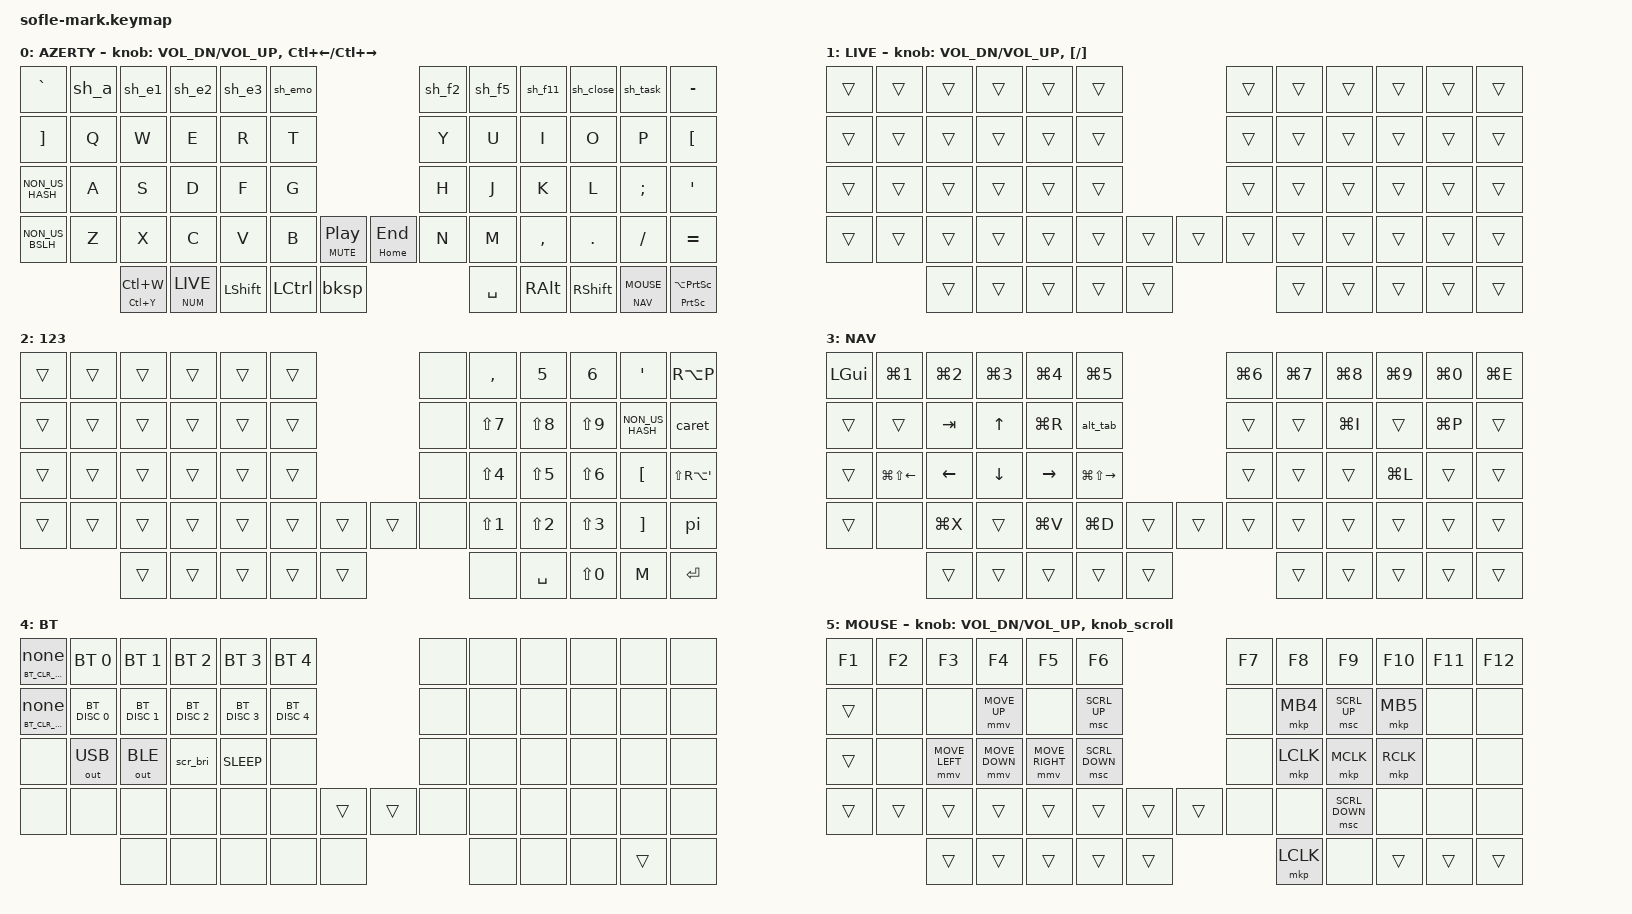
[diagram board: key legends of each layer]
// Mark's Sofle: custom layout on Windows "French (Standard, AZERTY)" = AFNOR.
//
// How to read this file
// - The keyboard sends US key codes; Windows turns them into AFNOR characters.
//   So "&kp N1" types à, "&kp M" types "." and so on. The comment above each row
//   shows what you see on screen.
// - The A <-> Q swap is still done by PowerToys on the ThinkPad, NOT here.
//   If you move it into this file later, switch it off in PowerToys.
// - Key positions (for combos): left half 0-5, 12-17, 24-29, 36-41;
//   right half 6-11, 18-23, 30-35, 44-49; encoder presses 42 (left) and 43 (right);
//   left thumbs 50-54 (outer -> inner), right thumbs 55-59 (inner -> outer).
//
// Layers: 0 AZERTY, 1 LIVE, 2 123, 3 NAV, 4 BT, 5 MOUSE.
// LIVE is a placeholder, NAV and BT are first drafts: still to design together.

#include <behaviors.dtsi>
#include <dt-bindings/zmk/bt.h>
#include <dt-bindings/zmk/keys.h>
#include <dt-bindings/zmk/outputs.h>
#include <dt-bindings/zmk/pointing.h>

// Wake-up key: top outer corner (@ / '), row pin 5, column pin 19 on both halves.
#define TKL_WAKE_ROW 5
#define TKL_WAKE_COL 19
// Switch-off: hold @ and < together for 2 seconds (base layer).
#define TKL_OFF_KEYS 0 36
#include "tkl_power.dtsi"
#include "tkl_brightness.dtsi"

#define AZERTY 0
#define LIVE 1
#define NUM 2
#define NAV 3
#define BT 4
#define MOUSE 5

/ {
    behaviors {
        // ---- From TheKeebLab: right knob = one mouse-wheel step per notch ----
        wheel_step: wheel_step {
            compatible = "zmk,behavior-wheel-step";
            #binding-cells = <1>;
        };
        // Right knob in the MOUSE layer: mouse wheel (counter-clockwise = scroll up).
        knob_scroll: knob_scroll {
            compatible = "zmk,behavior-sensor-rotate";
            #sensor-binding-cells = <0>;
            bindings = <&wheel_step 1>, <&wheel_step (-1)>;
        };

        // ---- Tap / hold keys ----
        // Generic: hold = first key, tap = second key.
        ht: ht {
            compatible = "zmk,behavior-hold-tap";
            #binding-cells = <2>;
            flavor = "tap-preferred";
            tapping-term-ms = <250>;
            quick-tap-ms = <150>;
            bindings = <&kp>, <&kp>;
        };

        // Layer key: hold = layer while held, tap = switch a layer on/off.
        // 123/LIVE: hold 123, tap LIVE.   NAV/MOUSE: hold NAV, tap MOUSE.
        lt_tog: lt_tog {
            compatible = "zmk,behavior-hold-tap";
            #binding-cells = <2>;
            flavor = "hold-preferred";
            tapping-term-ms = <200>;
            bindings = <&mo>, <&tog>;
        };

        // Bluetooth "forget" keys only work after a 1 second hold.
        bt_safe: bt_safe {
            compatible = "zmk,behavior-hold-tap";
            #binding-cells = <2>;
            flavor = "hold-preferred";
            tapping-term-ms = <1000>;
            bindings = <&bt>, <&none>;
        };

        // ---- Shift + number row ----
        // Shift + à é è ê = À É È Ê (AFNOR: Shift+AltGr on the same key).
        sh_a: sh_a {
            compatible = "zmk,behavior-mod-morph";
            #binding-cells = <0>;
            bindings = <&kp N1>, <&kp LS(RA(N1))>;
            mods = <(MOD_LSFT|MOD_RSFT)>;
        };
        sh_e1: sh_e1 {
            compatible = "zmk,behavior-mod-morph";
            #binding-cells = <0>;
            bindings = <&kp N2>, <&kp LS(RA(N2))>;
            mods = <(MOD_LSFT|MOD_RSFT)>;
        };
        sh_e2: sh_e2 {
            compatible = "zmk,behavior-mod-morph";
            #binding-cells = <0>;
            bindings = <&kp N3>, <&kp LS(RA(N3))>;
            mods = <(MOD_LSFT|MOD_RSFT)>;
        };
        sh_e3: sh_e3 {
            compatible = "zmk,behavior-mod-morph";
            #binding-cells = <0>;
            bindings = <&kp N4>, <&kp LS(RA(N4))>;
            mods = <(MOD_LSFT|MOD_RSFT)>;
        };
        // Shift + ( = emoji panel (Win + .). TO TEST on the ThinkPad.
        sh_emo: sh_emo {
            compatible = "zmk,behavior-mod-morph";
            #binding-cells = <0>;
            bindings = <&kp N5>, <&kp LG(M)>;
            mods = <(MOD_LSFT|MOD_RSFT)>;
        };
        // Shift + ) = F2 (rename)
        sh_f2: sh_f2 {
            compatible = "zmk,behavior-mod-morph";
            #binding-cells = <0>;
            bindings = <&kp N6>, <&kp F2>;
            mods = <(MOD_LSFT|MOD_RSFT)>;
        };
        // Shift + ‘ = F5 (refresh)
        sh_f5: sh_f5 {
            compatible = "zmk,behavior-mod-morph";
            #binding-cells = <0>;
            bindings = <&kp N7>, <&kp F5>;
            mods = <(MOD_LSFT|MOD_RSFT)>;
        };
        // Shift + ’ = F11 (full screen)
        sh_f11: sh_f11 {
            compatible = "zmk,behavior-mod-morph";
            #binding-cells = <0>;
            bindings = <&kp N8>, <&kp F11>;
            mods = <(MOD_LSFT|MOD_RSFT)>;
        };
        // Shift + « = Alt+F4 (close window)
        sh_close: sh_close {
            compatible = "zmk,behavior-mod-morph";
            #binding-cells = <0>;
            bindings = <&kp N9>, <&kp LA(F4)>;
            mods = <(MOD_LSFT|MOD_RSFT)>;
        };
        // Shift + » = Task Manager (Ctrl+Shift+Esc)
        sh_task: sh_task {
            compatible = "zmk,behavior-mod-morph";
            #binding-cells = <0>;
            bindings = <&kp N0>, <&kp LC(LS(ESC))>;
            mods = <(MOD_LSFT|MOD_RSFT)>;
        };

        // ---- Backspace family ----
        //   Bksp                    = Backspace
        //   Left Shift + Bksp       = delete word to the left  (Ctrl+Bksp)
        //   Right Shift + Bksp      = delete word to the right (Ctrl+Del)
        //   Ctrl + Bksp             = Delete
        //   Left Shift + Ctrl + Bksp  = delete to line start
        //   Right Shift + Ctrl + Bksp = Insert
        bs_rs: bs_rs {
            compatible = "zmk,behavior-mod-morph";
            #binding-cells = <0>;
            bindings = <&kp BSPC>, <&kp LC(DEL)>;
            mods = <(MOD_RSFT)>;
        };
        bs_sh: bs_sh {
            compatible = "zmk,behavior-mod-morph";
            #binding-cells = <0>;
            bindings = <&bs_rs>, <&kp LC(BSPC)>;
            mods = <(MOD_LSFT)>;
        };
        bs_crs: bs_crs {
            compatible = "zmk,behavior-mod-morph";
            #binding-cells = <0>;
            bindings = <&kp DEL>, <&kp INS>;
            mods = <(MOD_RSFT)>;
        };
        bs_ctl: bs_ctl {
            compatible = "zmk,behavior-mod-morph";
            #binding-cells = <0>;
            bindings = <&bs_crs>, <&del_home>;
            mods = <(MOD_LSFT)>;
        };
        bksp: bksp {
            compatible = "zmk,behavior-mod-morph";
            #binding-cells = <0>;
            bindings = <&bs_sh>, <&bs_ctl>;
            mods = <(MOD_LCTL|MOD_RCTL)>;
        };
    };

    macros {
        // Delete to line start: Shift+Home, then Backspace.
        del_home: del_home {
            compatible = "zmk,behavior-macro";
            #binding-cells = <0>;
            bindings = <&macro_tap &kp LS(HOME) &kp BSPC>;
        };
        // ^ as a character (dead key ^ followed by Space).
        caret: caret {
            compatible = "zmk,behavior-macro";
            #binding-cells = <0>;
            bindings = <&macro_tap &kp EQUAL &kp SPACE>;
        };
        // Alt+Tab: Alt stays held while you hold the key (NAV + T).
        // While holding T, tap Z (NAV + Z = Tab) to go further in the list.
        alt_tab: alt_tab {
            compatible = "zmk,behavior-macro";
            #binding-cells = <0>;
            wait-ms = <10>;
            tap-ms = <10>;
            bindings
                = <&macro_press &kp LALT>
                , <&macro_tap &kp TAB>
                , <&macro_pause_for_release>
                , <&macro_release &kp LALT>
                ;
        };
        // π: AFNOR Greek dead key (AltGr+G), then p.
        pi: pi {
            compatible = "zmk,behavior-macro";
            #binding-cells = <0>;
            bindings = <&macro_tap &kp RA(G) &kp P>;
        };
    };

    wheel_step_input_listener {
        compatible = "zmk,input-listener";
        device = <&wheel_step>;
    };

    combos {
        compatible = "zmk,combos";

        // Enter = Backspace + Space (both thumbs). Shift+Enter: hold Shift, then the combo.
        combo_enter {
            timeout-ms = <40>;
            key-positions = <54 55>;
            bindings = <&kp RET>;
        };
        // Caps Lock = both Shifts.
        combo_caps {
            timeout-ms = <50>;
            key-positions = <52 57>;
            bindings = <&kp CAPS>;
        };
        // Esc = @ + à
        combo_esc {
            timeout-ms = <40>;
            key-positions = <0 1>;
            bindings = <&kp ESC>;
        };
        // Tab = + + Q
        combo_tab {
            timeout-ms = <40>;
            key-positions = <12 13>;
            bindings = <&kp TAB>;
        };
        // BT layer = 123 key + NAV key together (hold both, then use the left hand).
        combo_bt {
            timeout-ms = <50>;
            key-positions = <51 58>;
            bindings = <&mo BT>;
        };
        // Alt = < + W (stays held while you hold both)
        combo_alt {
            timeout-ms = <40>;
            key-positions = <36 37>;
            bindings = <&kp LALT>;
        };
    };

    keymap {
        compatible = "zmk,keymap";

        azerty_layer {
            display-name = "AZERTY";
            bindings = <
//  @            à         é         è         ê         (                                     )          ‘          ’          «           »          '
&kp GRAVE        &sh_a     &sh_e1    &sh_e2    &sh_e3    &sh_emo                               &sh_f2     &sh_f5     &sh_f11    &sh_close   &sh_task   &kp MINUS
//  +            Q (A↔Q by PowerToys)  Z  E    R         T                                     Y          U          I          O           P          -
&kp RBKT         &kp Q     &kp W     &kp E     &kp R     &kp T                                 &kp Y      &kp U      &kp I      &kp O       &kp P      &kp LBKT
//  *            A         S         D         F         G                                     H          J          K          L           M          /
&kp NON_US_HASH  &kp A     &kp S     &kp D     &kp F     &kp G                                 &kp H      &kp J      &kp K      &kp L       &kp SEMI   &kp SQT
//  <            W         X         C         V         B     [left knob]    [right knob]     N          .          ,          :           ;          ^
&kp NON_US_BSLH  &kp Z     &kp X     &kp C     &kp V     &kp B &ht C_MUTE C_PP &ht HOME END    &kp N      &kp M      &kp COMMA  &kp DOT     &kp FSLH   &kp EQUAL
//                     Undo/Redo          123/LIVE           Shift      Ctrl       Bksp      Space      AltGr      Shift      NAV/MOUSE           PrtSc
                       &ht LC(Y) LC(W)    &lt_tog NUM LIVE   &kp LSHFT  &kp LCTRL  &bksp     &kp SPACE  &kp RALT   &kp RSHFT  &lt_tog NAV MOUSE   &ht PSCRN LA(PSCRN)
            >;
            // Left knob: volume. Right knob: word by word (Ctrl+Left/Right).
            // On these Sofles the first binding is a counter-clockwise turn.
            sensor-bindings =
                <&inc_dec_kp C_VOL_DN C_VOL_UP>,
                <&inc_dec_kp LC(LEFT) LC(RIGHT)>;
        };

        live_layer {
            display-name = "LIVE";
            // Placeholder: Ableton controls still to design. Tap the 123/LIVE key again to leave.
            bindings = <
&trans  &trans  &trans  &trans  &trans  &trans                    &trans  &trans  &trans  &trans  &trans  &trans
&trans  &trans  &trans  &trans  &trans  &trans                    &trans  &trans  &trans  &trans  &trans  &trans
&trans  &trans  &trans  &trans  &trans  &trans                    &trans  &trans  &trans  &trans  &trans  &trans
&trans  &trans  &trans  &trans  &trans  &trans  &trans    &trans  &trans  &trans  &trans  &trans  &trans  &trans
                &trans  &trans  &trans  &trans  &trans    &trans  &trans  &trans  &trans  &trans
            >;
            // Right knob = Ableton zoom (- / +). TO TEST in Ableton.
            sensor-bindings =
                <&inc_dec_kp C_VOL_DN C_VOL_UP>,
                <&inc_dec_kp LBKT RBKT>;
        };

        num_layer {
            display-name = "123";
            // Right half like the TI-36X Pro. Operators send / * - + so they work in
            // every program (calculator, Excel).
            bindings = <
//                                                                    ,          (          )          ÷ (/)      %
&trans  &trans  &trans  &trans  &trans  &trans                 &none  &kp COMMA  &kp N5     &kp N6     &kp SQT    &kp RA(P)
//                                                                    7          8          9          × (*)      ^
&trans  &trans  &trans  &trans  &trans  &trans                 &none  &kp LS(N7) &kp LS(N8) &kp LS(N9) &kp NON_US_HASH &caret
//                                                                    4          5          6          − (-)      √
&trans  &trans  &trans  &trans  &trans  &trans                 &none  &kp LS(N4) &kp LS(N5) &kp LS(N6) &kp LBKT   &kp LS(RA(SQT))
//                                                                    1          2          3          +          π
&trans  &trans  &trans  &trans  &trans  &trans  &trans  &trans &none  &kp LS(N1) &kp LS(N2) &kp LS(N3) &kp RBKT   &pi
//                                                    (angled)  Space      0           .       Enter
                &trans  &trans  &trans  &trans  &trans  &none   &kp SPACE  &kp LS(N0)  &kp M   &kp RET
            >;
        };

        nav_layer {
            display-name = "NAV";
            // First draft. Arrows on E S D F, Windows-key shortcuts as single keys,
            // taskbar apps (Win+1..0) on the number row. F1-F12 are in the MOUSE layer.
            bindings = <
//  @: Start à: Claude é: Obsidian è: Chrome ê: Agenda (: Outlook                         ): Roon    ‘: Live    ’: YouTube «: WhatsApp »: Monkeytype ': Verkenner
//  Win + 1-9, 0 = open the app at that place on the taskbar (1 = first icon).
&kp LGUI      &kp LG(N1) &kp LG(N2) &kp LG(N3) &kp LG(N4) &kp LG(N5)                      &kp LG(N6) &kp LG(N7) &kp LG(N8) &kp LG(N9) &kp LG(N0) &kp LG(E)
//  (+)       (Q)       Z: Tab    E: ↑      R: Run    T: Alt+Tab                            (Y)       (U)       I: Settings (O)     P: Project
&trans        &trans    &kp TAB   &kp UP    &kp LG(R) &alt_tab                               &trans    &trans    &kp LG(I) &trans    &kp LG(P) &trans
//  (*)       A: window to left screen  S: ←  D: ↓  F: →  G: window to right screen         (H)       (J)       (K)       L: lock   (M)       (/)
&trans        &kp LG(LS(LEFT)) &kp LEFT  &kp DOWN  &kp RIGHT &kp LG(LS(RIGHT))                     &trans    &trans    &trans    &kp LG(L) &trans    &trans
//  (<)       (W)       X: Win+X  (C)       V: clipboard  B: show desktop (Bureau)
&trans        &none     &kp LG(X) &trans    &kp LG(V) &kp LG(D) &trans          &trans      &trans    &trans    &trans    &trans    &trans    &trans
                        &trans    &trans    &trans    &trans    &trans          &trans      &trans    &trans    &trans    &trans
            >;
        };

        bt_layer {
            display-name = "BT";
            // From TheKeebLab's layer 3. Hold the 123 key + NAV key together, release to leave.
            // "Forget" keys (top-left, and under it) need a 1 second hold.
            bindings = <
&bt_safe BT_CLR_CMD 0  &bt BT_SEL 0   &bt BT_SEL 1   &bt BT_SEL 2   &bt BT_SEL 3   &bt BT_SEL 4             &none  &none  &none  &none  &none  &none
&bt_safe BT_CLR_ALL_CMD 0 &bt BT_DISC 0  &bt BT_DISC 1  &bt BT_DISC 2  &bt BT_DISC 3  &bt BT_DISC 4            &none  &none  &none  &none  &none  &none
&none                  &out OUT_USB   &out OUT_BLE   &scr_bri       &kp K_SLEEP    &none                    &none  &none  &none  &none  &none  &none
&none                  &none          &none          &none          &none          &none  &trans  &trans    &none  &none  &none  &none  &none  &none
                                      &none          &none          &none          &none  &none   &none     &none  &none  &trans &none
            >;
        };

        mouse_layer {
            display-name = "MOUSE";
            // Tap the NAV key to switch on, tap it again to switch off.
            // Left hand moves (like the arrows in NAV), T / G scroll (same column), right hand clicks.
            // Left thumbs, X C V and the bottom row stay normal: Ctrl+click, Shift+click,
            // Ctrl+C / Ctrl+V still work. Right Space = left click (hold it to drag).
            bindings = <
//  F1-F12 on the number row (moved here from NAV).
&kp F1  &kp F2  &kp F3  &kp F4  &kp F5  &kp F6                         &kp F7  &kp F8  &kp F9  &kp F10  &kp F11  &kp F12
//              (Z)     E: ↑           (R)    T: scroll up                      U: back I: scroll ↑  O: forward
&trans  &none   &none   &mmv MOVE_UP   &none  &msc SCRL_UP                &none  &mkp MB4  &msc SCRL_UP  &mkp MB5  &none  &none
//              (A)     S: ←    D: ↓    F: →    G: scroll down            H     J: left click  K: middle  L: right click
&trans  &none   &mmv MOVE_LEFT  &mmv MOVE_DOWN  &mmv MOVE_RIGHT  &msc SCRL_DOWN    &none  &mkp LCLK  &mkp MCLK  &mkp RCLK  &none  &none
//              W X C V B normal                                          ,: scroll ↓
&trans  &trans  &trans  &trans  &trans  &trans  &trans  &trans            &none  &none  &msc SCRL_DOWN  &none  &none  &none
//                                                        Space: left click
                &trans  &trans  &trans  &trans  &trans    &mkp LCLK  &none  &trans  &trans  &trans
            >;
            // Right knob = mouse wheel.
            sensor-bindings =
                <&inc_dec_kp C_VOL_DN C_VOL_UP>,
                <&knob_scroll>;
        };

        extra2 {
            status = "reserved";
        };

        extra3 {
            status = "reserved";
        };
    };
};
